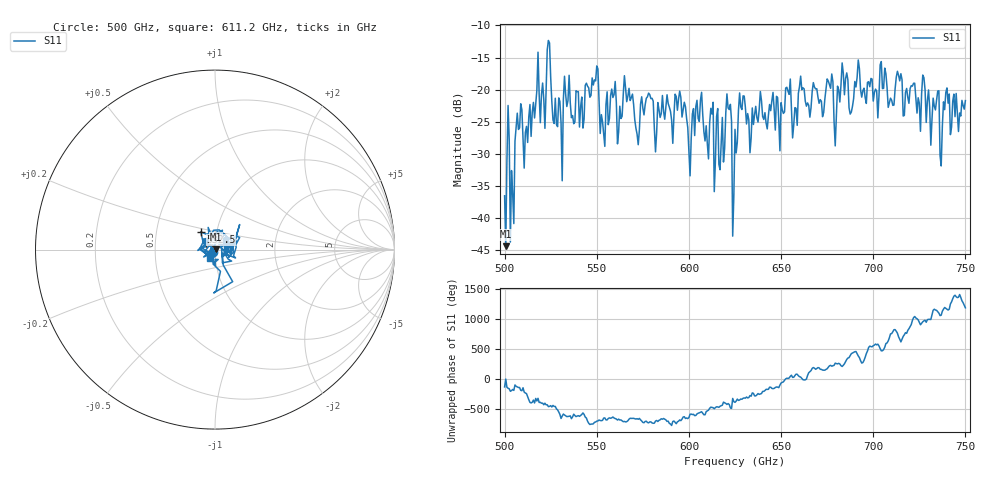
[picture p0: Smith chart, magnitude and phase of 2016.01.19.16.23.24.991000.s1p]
!Created with skrf (http://scikit-rf.org).
# GHz S RI R 50.0
!freq ReS11 ImS11
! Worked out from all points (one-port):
!   401 points, 500 GHz to 750 GHz, reference 50 ohm
!   lowest |S11| = -44.4 dB at 500.6 GHz (marker M1), VSWR 1.01, Z = 50.6 + j0.0565 ohm
!   |S11| at or under -10 dB: start of sweep to end of sweep
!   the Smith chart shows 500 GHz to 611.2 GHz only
!   S11 on the Smith chart (normalised r, x): 500 GHz: 0.98, -0.02; 532.5 GHz: 0.84, +0.17; 611.2 GHz: 0.94, -0.09
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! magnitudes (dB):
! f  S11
! 500 GHz  -36.5
! 500.6 GHz  -44.4
! 504.4 GHz  -36.2
! 507.5 GHz  -26.2
! 511.2 GHz  -26.7
! 523.8 GHz  -12.3
! 527.5 GHz  -21.3
! 531.2 GHz  -34.2
! 532.5 GHz  -17.9
! 549.4 GHz  -18.6
! 553.1 GHz  -25.0
! 558.8 GHz  -21.2
! 562.5 GHz  -22.6
! 566.2 GHz  -21.9
! 571.9 GHz  -26.9
! 593.8 GHz  -23.2
! 600 GHz  -29.8
! 605.6 GHz  -24.9
! 611.2 GHz  -25.2
! 617.5 GHz  -28.4
! 621.9 GHz  -23.1
! 625 GHz  -26.2
! 628.8 GHz  -23.1
! 656.2 GHz  -27.5
! 687.5 GHz  -23.8
! 718.8 GHz  -21.2
! 737.5 GHz  -25.7
! 750 GHz  -21.7
